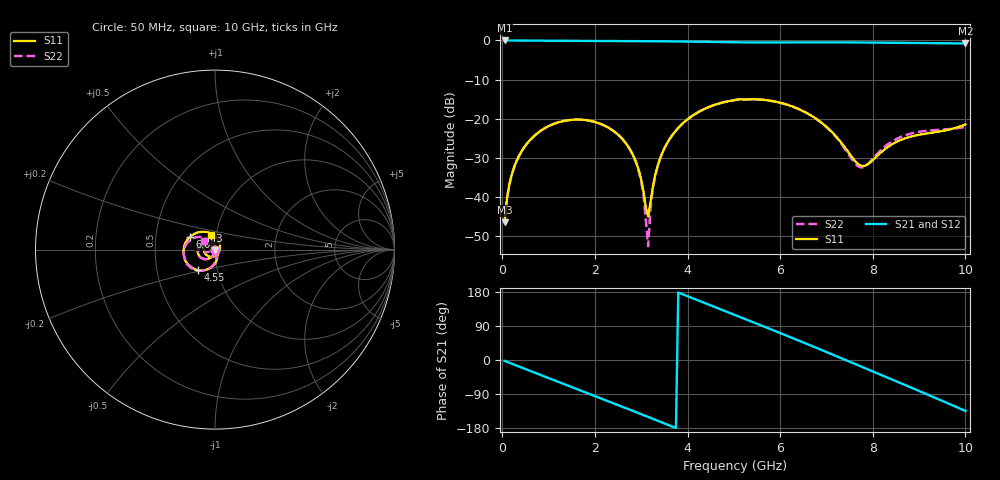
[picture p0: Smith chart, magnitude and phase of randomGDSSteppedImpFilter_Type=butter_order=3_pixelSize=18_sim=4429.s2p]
! freq	dB(S11)	phase(S11)	dB(S12)	phase(S12)
!  dB(S21)	phase(S21)	dB(S22)	phase(S22)
!S-par simulation data
#  GHz  S  DB  R 50
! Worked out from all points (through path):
!   200 points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, 50 MHz to 10 GHz, reference 50 ohm
!   highest |S21| = 0.00 dB at 50 MHz (marker M1); lowest = -0.8 dB at 10 GHz (marker M2)
!   group delay of S21, straight-line fit = 137 ps
!   lowest |S11| = -46.5 dB at 50 MHz (marker M3), VSWR 1.01, Z = 50 - j0.471 ohm
!   |S11| at or under -10 dB: start of sweep to end of sweep
!   |S22| runs from -52.7 to -15.0 dB; largest |S21 - S12| = 0
!   S11 on the Smith chart (normalised r, x): 50 MHz: 1.00, -0.01; 4.55 GHz: 0.81, -0.19; 6.05 GHz: 0.75, +0.11; 10 GHz: 0.95, +0.16
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0.05  -46.54 -91.7  -0.00 -2.4  -0.00 -2.4  -46.55 -91.7
0.1  -40.53 -94.6  -0.01 -4.8  -0.01 -4.8  -40.54 -94.4
0.2  -34.56 -99.6  -0.02 -9.6  -0.02 -9.6  -34.56 -99.4
0.5  -26.92 -114.6  -0.04 -23.9  -0.04 -23.9  -26.91 -113.8
1.05  -21.66 -141.9  -0.08 -50.0  -0.08 -50.0  -21.66 -140.3
1.75  -20.33 -176.1  -0.13 -83.2  -0.13 -83.2  -20.34 -173.0
2.35  -22.75 153.6  -0.15 -111.7  -0.15 -111.7  -22.78 159.3
2.8  -28.80 127.1  -0.16 -133.3  -0.16 -133.3  -28.92 139.7
3  -35.65 106.5  -0.17 -143.0  -0.17 -143.0  -36.18 134.5
3.15  -45.08 20.1  -0.18 -150.3  -0.18 -150.3  -52.68 -123.7
3.2  -41.43 -23.0  -0.18 -152.7  -0.18 -152.7  -43.16 -79.8
3.25  -37.51 -41.8  -0.19 -155.2  -0.19 -155.2  -38.06 -74.2
3.4  -30.47 -63.2  -0.20 -162.5  -0.20 -162.5  -30.53 -75.8
3.85  -21.78 -92.3  -0.27 175.6  -0.27 175.6  -21.76 -94.7
4.55  -16.65 -128.9  -0.39 141.6  -0.39 141.6  -16.62 -126.9
5.05  -15.23 -154.4  -0.47 117.3  -0.47 117.3  -15.20 -149.8
6.05  -16.11 153.0  -0.51 68.7  -0.51 68.7  -16.08 165.2
6.7  -19.45 114.3  -0.49 36.3  -0.49 36.3  -19.46 138.5
7.7  -31.80 -1.8  -0.52 -14.7  -0.52 -14.7  -32.36 155.7
8.35  -27.08 -114.6  -0.58 -48.1  -0.58 -48.1  -26.39 -162.4
9.2  -23.77 171.7  -0.68 -92.1  -0.68 -92.1  -23.08 170.6
10  -21.47 103.5  -0.77 -134.4  -0.77 -134.4  -22.07 141.5
